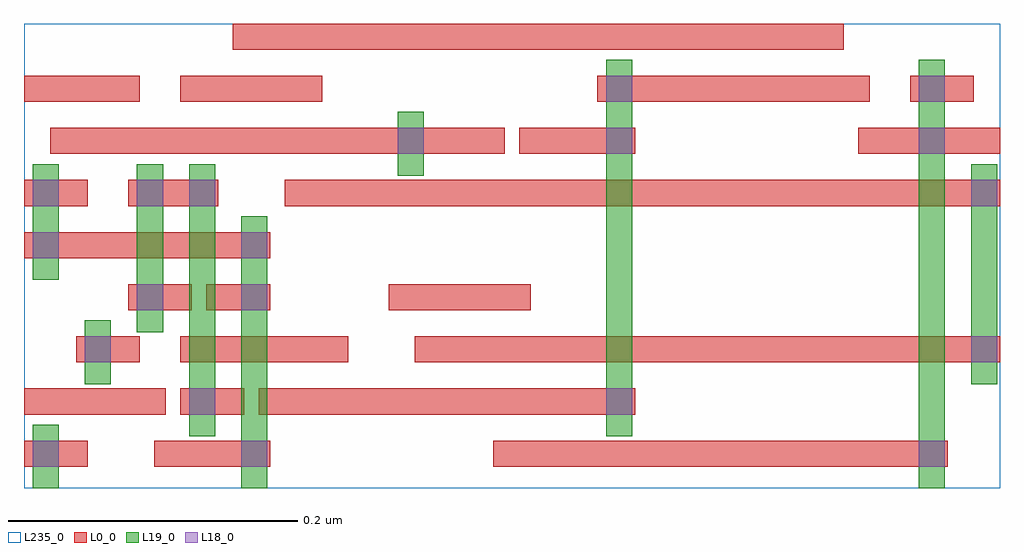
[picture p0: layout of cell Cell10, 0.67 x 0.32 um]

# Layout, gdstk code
import gdstk
lib = gdstk.Library(unit=1e-6, precision=2.5e-10)
def R(c, l, rs):  # rectangles x0, y0, x1, y1
    for r in rs: c.add(gdstk.rectangle(r[:2], r[2:], *l))
L0_0 = (0, 0)
L18_0 = (18, 0)
L19_0 = (19, 0)
L235_0 = (235, 0)

cell10 = lib.new_cell('Cell10')
R(cell10, L0_0, [(0.004,-0.001,0.048,0.017), (0.094,-0.001,0.174,0.017), (0.328,-0.001,0.642,0.017), (0.004,0.035,0.102,0.053), (0.112,0.035,0.156,0.053), (0.166,0.035,0.426,0.053), (0.04,0.071,0.084,0.089), (0.112,0.071,0.228,0.089), (0.274,0.071,0.678,0.089), (0.076,0.107,0.12,0.125), (0.13,0.107,0.174,0.125), (0.256,0.107,0.354,0.125), (0.004,0.143,0.174,0.161), (0.004,0.179,0.048,0.197), (0.076,0.179,0.138,0.197), (0.184,0.179,0.678,0.197), (0.022,0.215,0.336,0.233), (0.346,0.215,0.426,0.233), (0.58,0.215,0.678,0.233), (0.004,0.251,0.084,0.269), (0.112,0.251,0.21,0.269), (0.4,0.251,0.588,0.269), (0.616,0.251,0.66,0.269), (0.148,0.287,0.57,0.305)])
R(cell10, L18_0, [(0.01,-0.001,0.028,0.017), (0.154,-0.001,0.172,0.017), (0.622,-0.001,0.64,0.017), (0.118,0.035,0.136,0.053), (0.406,0.035,0.424,0.053), (0.046,0.071,0.064,0.089), (0.658,0.071,0.676,0.089), (0.082,0.107,0.1,0.125), (0.154,0.107,0.172,0.125), (0.01,0.143,0.028,0.161), (0.154,0.143,0.172,0.161), (0.01,0.179,0.028,0.197), (0.082,0.179,0.1,0.197), (0.118,0.179,0.136,0.197), (0.658,0.179,0.676,0.197), (0.262,0.215,0.28,0.233), (0.406,0.215,0.424,0.233), (0.622,0.215,0.64,0.233), (0.406,0.251,0.424,0.269), (0.622,0.251,0.64,0.269)])
R(cell10, L19_0, [(0.01,-0.016,0.028,0.028), (0.154,-0.016,0.172,0.172), (0.622,-0.016,0.64,0.28), (0.118,0.02,0.136,0.208), (0.406,0.02,0.424,0.28), (0.046,0.056,0.064,0.1), (0.658,0.056,0.676,0.208), (0.082,0.092,0.1,0.208), (0.01,0.128,0.028,0.208), (0.262,0.2,0.28,0.244)])
R(cell10, L235_0, [(0.004,-0.016,0.678,0.305)])

lib.write_gds('Cell10.gds')
